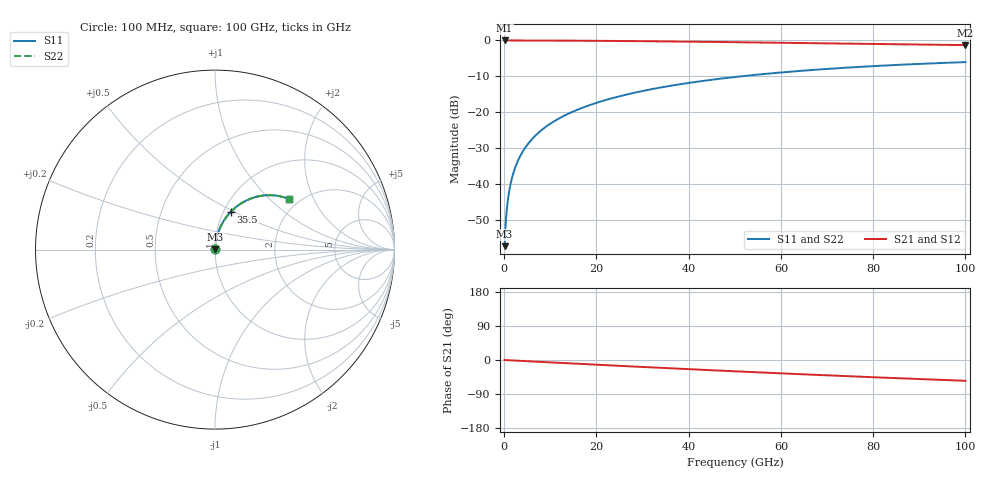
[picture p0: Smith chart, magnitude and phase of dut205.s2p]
! Touchstone file exported from HFSS 2026.1.0
!  File:  C:/ffzhzh/LocalFiles/Ansys_Project_Files/temp_train_RDL_205_1783500764_55944.aedt
!  Generated:  04:53:53 PM Jul  8, 2026
!  Design:  RDL
!  Project:  temp_train_RDL_205_1783500764_55944
! Variables:
!  h_bsmrdl = 2um
!  h_ox = 20um
!  h_rdl = 5um
!  h_sub = 80um
!  h_tmrdl = 2.72um
!  h_tsv = 80um
!  h_via = 3um
!  l_bsmrdl = 300um
!  l_sub = 534.81um
!  l_tmrdl = 134.81um
!  m_sub = 200um
!  pitch = 47.57um
!  r_tsv = 6um
!  s_tmrdl = 10um
!  w_bsmrdl = 18um
!  w_sub = 500um
!  w_tmrdl = 21.31um
!  x_tsv_center1 = 145.465um
!  x_tsv_center2 = 463.465um
!  x_tsv_center3 = 619.585um
!  x_tsv_center4 = 937.585um
!  x_tsv_center5 = 1093.705um
!  x_tsv_center6 = 1411.705um
# GHz S MA R 50.000000
! Terminal data exported
! Port[1] = TM_RDL1_1_T1
! Port[2] = TM_RDL1_1_T2
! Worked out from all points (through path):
!   1000 points, 100 MHz to 100 GHz, reference 50 ohm
!   highest |S21| = -0.01 dB at 100 MHz (marker M1); lowest = -1.3 dB at 100 GHz (marker M2)
!   group delay of S21, straight-line fit = 1.53 ps
!   lowest |S11| = -57.4 dB at 100 MHz (marker M3), VSWR 1.00, Z = 50.1 + j0.0759 ohm
!   |S11| at or under -10 dB: start of sweep to 51.46 GHz
!   |S22| runs from -57.4 to -6.1 dB; largest |S21 - S12| = 2.6e-15
!   S11 on the Smith chart (normalised r, x): 100 MHz: 1.00, +0.00; 35.5 GHz: 1.08, +0.48; 100 GHz: 1.76, +1.32
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0.1  0.001349 34.1  0.9989 -0.1  0.9989 -0.1  0.001349 34.1
! Gamma 0 0 0 0
! Port Impedance 50 0 50 0
0.4  0.003196 67.2  0.9988 -0.3  0.9988 -0.3  0.003196 67.2
0.7  0.005216 74.9  0.9987 -0.5  0.9987 -0.5  0.005216 74.9
0.9  0.006571 77.5  0.9986 -0.6  0.9986 -0.6  0.006571 77.5
1.2  0.008616 79.9  0.9986 -0.8  0.9986 -0.8  0.008616 79.9
1.5  0.01067 81.4  0.9985 -1.0  0.9985 -1.0  0.01067 81.4
2  0.01412 82.7  0.9984 -1.3  0.9984 -1.3  0.01412 82.7
2.6  0.01826 83.6  0.9983 -1.6  0.9983 -1.6  0.01826 83.6
3.3  0.0231 84.0  0.9981 -2.1  0.9981 -2.1  0.0231 84.0
4.1  0.02863 84.1  0.9979 -2.6  0.9979 -2.6  0.02863 84.1
5.1  0.03552 83.9  0.9976 -3.2  0.9976 -3.2  0.03552 83.9
6.2  0.04306 83.5  0.9972 -3.9  0.9972 -3.9  0.04306 83.5
9  0.06213 82.2  0.9958 -5.7  0.9958 -5.7  0.06213 82.2
12.5  0.08562 80.3  0.9935 -7.8  0.9935 -7.8  0.08562 80.3
16.8  0.1139 77.8  0.9901 -10.4  0.9901 -10.4  0.1139 77.8
24.2  0.1612 73.6  0.9827 -14.9  0.9827 -14.9  0.1612 73.6
33.4  0.2173 68.4  0.9712 -20.4  0.9712 -20.4  0.2173 68.3
35.5  0.2296 67.2  0.9683 -21.6  0.9683 -21.6  0.2296 67.2
50.1  0.3093 59.1  0.9452 -29.9  0.9452 -29.9  0.3093 59.1
66.7  0.3867 50.4  0.916 -38.7  0.916 -38.7  0.3867 50.3
83.4  0.4497 42.1  0.8867 -47.1  0.8867 -47.1  0.4497 42.1
100  0.4983 34.4  0.8603 -54.9  0.8603 -54.9  0.4983 34.4
